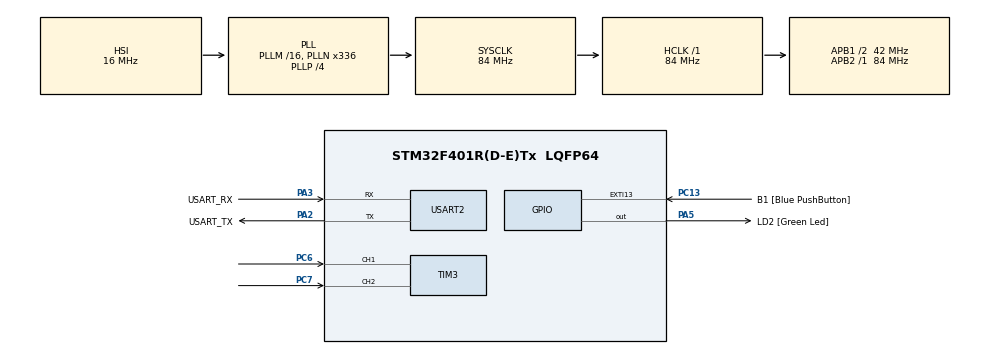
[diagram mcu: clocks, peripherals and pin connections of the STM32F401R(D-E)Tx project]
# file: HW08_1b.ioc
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Dma.Request0=USART2_TX
Dma.USART2_TX.0.Direction=DMA_MEMORY_TO_PERIPH
Dma.USART2_TX.0.FIFOMode=DMA_FIFOMODE_DISABLE
Dma.USART2_TX.0.Instance=DMA1_Stream6
Dma.USART2_TX.0.MemDataAlignment=DMA_MDATAALIGN_BYTE
Dma.USART2_TX.0.MemInc=DMA_MINC_ENABLE
Dma.USART2_TX.0.Mode=DMA_NORMAL
Dma.USART2_TX.0.PeriphDataAlignment=DMA_PDATAALIGN_BYTE
Dma.USART2_TX.0.PeriphInc=DMA_PINC_DISABLE
Dma.USART2_TX.0.Priority=DMA_PRIORITY_LOW
Mcu.Family=STM32F4
Mcu.Name=STM32F401R(D-E)Tx
Mcu.Package=LQFP64
NVIC.DMA1_Stream6_IRQn=true\:0\:0\:false\:false\:true\:false\:true\:true
NVIC.PriorityGroup=NVIC_PRIORITYGROUP_0
NVIC.TIM1_UP_TIM10_IRQn=true\:0\:0\:false\:false\:true\:true\:true\:true
NVIC.USART2_IRQn=true\:0\:0\:false\:false\:true\:true\:true\:true
PA13.GPIO_Label=TMS
PA13.Mode=Serial_Wire
PA13.Signal=SYS_JTMS-SWDIO
PA14.GPIO_Label=TCK
PA14.Mode=Serial_Wire
PA14.Signal=SYS_JTCK-SWCLK
PA2.GPIO_Label=USART_TX
PA2.GPIO_Mode=GPIO_MODE_AF_PP
PA2.GPIO_PuPd=GPIO_NOPULL
PA2.GPIO_Speed=GPIO_SPEED_FREQ_LOW
PA2.Mode=Asynchronous
PA2.Signal=USART2_TX
PA3.GPIO_Label=USART_RX
PA3.GPIO_Mode=GPIO_MODE_AF_PP
PA3.GPIO_PuPd=GPIO_NOPULL
PA3.GPIO_Speed=GPIO_SPEED_FREQ_LOW
PA3.Mode=Asynchronous
PA3.Signal=USART2_RX
PA5.GPIO_Label=LD2 [Green Led]
PA5.GPIO_Mode=GPIO_MODE_OUTPUT_PP
PA5.GPIO_PuPd=GPIO_NOPULL
PA5.GPIO_Speed=GPIO_SPEED_FREQ_LOW
PA5.Signal=GPIO_Output
PB3.GPIO_Label=SWO
PB3.Signal=SYS_JTDO-SWO
PC13-ANTI_TAMP.GPIO_Label=B1 [Blue PushButton]
PC13-ANTI_TAMP.GPIO_ModeDefaultEXTI=GPIO_MODE_IT_FALLING
PC13-ANTI_TAMP.GPIO_PuPd=GPIO_NOPULL
PC13-ANTI_TAMP.Signal=GPXTI13
PC14-OSC32_IN.Mode=LSE-External-Oscillator
PC14-OSC32_IN.Signal=RCC_OSC32_IN
PC15-OSC32_OUT.Mode=LSE-External-Oscillator
PC15-OSC32_OUT.Signal=RCC_OSC32_OUT
PC6.Signal=S_TIM3_CH1
PC7.Signal=S_TIM3_CH2
PH0\ -\ OSC_IN.Mode=HSE-External-Clock-Source
PH0\ -\ OSC_IN.Signal=RCC_OSC_IN
PH1\ -\ OSC_OUT.Mode=HSE-External-Clock-Source
PH1\ -\ OSC_OUT.Signal=RCC_OSC_OUT
ProjectManager.HeapSize=0x200
ProjectManager.StackSize=0x400
ProjectManager.TargetToolchain=STM32CubeIDE
RCC.48MHZClocksFreq_Value=48000000
RCC.AHBFreq_Value=84000000
RCC.APB1CLKDivider=RCC_HCLK_DIV2
RCC.APB1Freq_Value=42000000
RCC.APB1TimFreq_Value=84000000
RCC.APB2Freq_Value=84000000
RCC.APB2TimFreq_Value=84000000
RCC.CortexFreq_Value=84000000
RCC.HCLKFreq_Value=84000000
RCC.HSE_VALUE=8000000
RCC.HSI_VALUE=16000000
RCC.PLLN=336
RCC.PLLP=RCC_PLLP_DIV4
RCC.PLLQ=7
RCC.SYSCLKFreq_VALUE=84000000
RCC.SYSCLKSource=RCC_SYSCLKSOURCE_PLLCLK
RCC.VCOOutputFreq_Value=336000000
SH.S_TIM3_CH1.0=TIM3_CH1,Encoder_Interface
SH.S_TIM3_CH2.0=TIM3_CH2,Encoder_Interface
TIM10.Period=10000-1
TIM10.Prescaler=8400-1
TIM3.ClockDivision=TIM_CLOCKDIVISION_DIV4
TIM3.IC1Filter=15
TIM3.IC2Filter=15
TIM3.IC2Polarity=TIM_ICPOLARITY_RISING
USART2.VirtualMode=VM_ASYNC
VP_TIM10_VS_ClockSourceINT.Mode=Enable_Timer
board=NUCLEO-F401RE

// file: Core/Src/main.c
/* USER CODE BEGIN Header */
/**
  ******************************************************************************
  * @file           : main.c
  * @brief          : Main program body
  ******************************************************************************
  * @attention
  *
  * Copyright (c) 2023 STMicroelectronics.
  * All rights reserved.
  *
  * This software is licensed under terms that can be found in the LICENSE file
  * in the root directory of this software component.
  * If no LICENSE file comes with this software, it is provided AS-IS.
  *
  ******************************************************************************
  */
/* USER CODE END Header */
#include "main.h"

/* USER CODE BEGIN Includes */
#include "stdio.h"
/* USER CODE END Includes */

TIM_HandleTypeDef htim3;
TIM_HandleTypeDef htim10;

UART_HandleTypeDef huart2;
DMA_HandleTypeDef hdma_usart2_tx;

/* USER CODE BEGIN PV */
int16_t curr_count = 0;
int16_t	last_count = 0;
int16_t delta = 0;
/* USER CODE END PV */

void SystemClock_Config(void);
static void MX_GPIO_Init(void);
static void MX_DMA_Init(void);
static void MX_USART2_UART_Init(void);
static void MX_TIM3_Init(void);
static void MX_TIM10_Init(void);
/* USER CODE BEGIN PFP */
void HAL_TIM_PeriodElapsedCallback(TIM_HandleTypeDef *htim)
{
	if(htim == &htim10){
		char buff[100];
		//read timer value
		curr_count = (int16_t) __HAL_TIM_GET_COUNTER(&htim3);

		//delta is a int16_t like curr_count and last_count. Binary subtraction needs n+1 = 17 bits to account
		//for carry, however if we discard the 17th bit and consider signed variable, we solve the roll up issue
		delta = curr_count - last_count;

		//a full round consists of 24 ticks
		uint8_t len = snprintf(buff, sizeof(buff),"Speed: %.2f rpm\n\r", delta*60/24.0);

		last_count = curr_count;

		//send through UART the speed
		HAL_UART_Transmit_DMA(&huart2, (uint8_t*) &buff, len);

	}
}
/* USER CODE END PFP */

int main(void)
{

  /* MCU Configuration--------------------------------------------------------*/

  /* Reset of all peripherals, Initializes the Flash interface and the Systick. */
  HAL_Init();

  /* Configure the system clock */
  SystemClock_Config();

  /* Initialize all configured peripherals */
  MX_GPIO_Init();
  MX_DMA_Init();
  MX_USART2_UART_Init();
  MX_TIM3_Init();
  MX_TIM10_Init();
  /* USER CODE BEGIN 2 */
  if(HAL_TIM_Encoder_Start(&htim3, TIM_CHANNEL_ALL) != HAL_OK)
  	  Error_Handler();

  if(HAL_TIM_Base_Start_IT(&htim10)!= HAL_OK)
  	  Error_Handler();
  /* USER CODE END 2 */

  /* Infinite loop */
  while (1)
  {

  }
}

void SystemClock_Config(void)
{
  RCC_OscInitTypeDef RCC_OscInitStruct = {0};
  RCC_ClkInitTypeDef RCC_ClkInitStruct = {0};

  /** Configure the main internal regulator output voltage
  */
  __HAL_RCC_PWR_CLK_ENABLE();
  __HAL_PWR_VOLTAGESCALING_CONFIG(PWR_REGULATOR_VOLTAGE_SCALE2);

  /** Initializes the RCC Oscillators according to the specified parameters
  * in the RCC_OscInitTypeDef structure.
  */
  RCC_OscInitStruct.OscillatorType = RCC_OSCILLATORTYPE_HSI;
  RCC_OscInitStruct.HSIState = RCC_HSI_ON;
  RCC_OscInitStruct.HSICalibrationValue = RCC_HSICALIBRATION_DEFAULT;
  RCC_OscInitStruct.PLL.PLLState = RCC_PLL_ON;
  RCC_OscInitStruct.PLL.PLLSource = RCC_PLLSOURCE_HSI;
  RCC_OscInitStruct.PLL.PLLM = 16;
  RCC_OscInitStruct.PLL.PLLN = 336;
  RCC_OscInitStruct.PLL.PLLP = RCC_PLLP_DIV4;
  RCC_OscInitStruct.PLL.PLLQ = 7;
  if (HAL_RCC_OscConfig(&RCC_OscInitStruct) != HAL_OK)
  {
    Error_Handler();
  }

  /** Initializes the CPU, AHB and APB buses clocks
  */
  RCC_ClkInitStruct.ClockType = RCC_CLOCKTYPE_HCLK|RCC_CLOCKTYPE_SYSCLK
                              |RCC_CLOCKTYPE_PCLK1|RCC_CLOCKTYPE_PCLK2;
  RCC_ClkInitStruct.SYSCLKSource = RCC_SYSCLKSOURCE_PLLCLK;
  RCC_ClkInitStruct.AHBCLKDivider = RCC_SYSCLK_DIV1;
  RCC_ClkInitStruct.APB1CLKDivider = RCC_HCLK_DIV2;
  RCC_ClkInitStruct.APB2CLKDivider = RCC_HCLK_DIV1;

  if (HAL_RCC_ClockConfig(&RCC_ClkInitStruct, FLASH_LATENCY_2) != HAL_OK)
  {
    Error_Handler();
  }
}

static void MX_TIM3_Init(void)
{

  TIM_Encoder_InitTypeDef sConfig = {0};
  TIM_MasterConfigTypeDef sMasterConfig = {0};

  htim3.Instance = TIM3;
  htim3.Init.Prescaler = 0;
  htim3.Init.CounterMode = TIM_COUNTERMODE_UP;
  htim3.Init.Period = 65535;
  htim3.Init.ClockDivision = TIM_CLOCKDIVISION_DIV4;
  htim3.Init.AutoReloadPreload = TIM_AUTORELOAD_PRELOAD_DISABLE;
  sConfig.EncoderMode = TIM_ENCODERMODE_TI1;
  sConfig.IC1Polarity = TIM_ICPOLARITY_RISING;
  sConfig.IC1Selection = TIM_ICSELECTION_DIRECTTI;
  sConfig.IC1Prescaler = TIM_ICPSC_DIV1;
  sConfig.IC1Filter = 15;
  sConfig.IC2Polarity = TIM_ICPOLARITY_RISING;
  sConfig.IC2Selection = TIM_ICSELECTION_DIRECTTI;
  sConfig.IC2Prescaler = TIM_ICPSC_DIV1;
  sConfig.IC2Filter = 15;
  if (HAL_TIM_Encoder_Init(&htim3, &sConfig) != HAL_OK)
  {
    Error_Handler();
  }
  sMasterConfig.MasterOutputTrigger = TIM_TRGO_RESET;
  sMasterConfig.MasterSlaveMode = TIM_MASTERSLAVEMODE_DISABLE;
  if (HAL_TIMEx_MasterConfigSynchronization(&htim3, &sMasterConfig) != HAL_OK)
  {
    Error_Handler();
  }

}

static void MX_TIM10_Init(void)
{

  htim10.Instance = TIM10;
  htim10.Init.Prescaler = 8400-1;
  htim10.Init.CounterMode = TIM_COUNTERMODE_UP;
  htim10.Init.Period = 10000-1;
  htim10.Init.ClockDivision = TIM_CLOCKDIVISION_DIV1;
  htim10.Init.AutoReloadPreload = TIM_AUTORELOAD_PRELOAD_DISABLE;
  if (HAL_TIM_Base_Init(&htim10) != HAL_OK)
  {
    Error_Handler();
  }

}

static void MX_USART2_UART_Init(void)
{

  huart2.Instance = USART2;
  huart2.Init.BaudRate = 115200;
  huart2.Init.WordLength = UART_WORDLENGTH_8B;
  huart2.Init.StopBits = UART_STOPBITS_1;
  huart2.Init.Parity = UART_PARITY_NONE;
  huart2.Init.Mode = UART_MODE_TX_RX;
  huart2.Init.HwFlowCtl = UART_HWCONTROL_NONE;
  huart2.Init.OverSampling = UART_OVERSAMPLING_16;
  if (HAL_UART_Init(&huart2) != HAL_OK)
  {
    Error_Handler();
  }

}

static void MX_DMA_Init(void)
{

  /* DMA controller clock enable */
  __HAL_RCC_DMA1_CLK_ENABLE();

  /* DMA interrupt init */
  /* DMA1_Stream6_IRQn interrupt configuration */
  HAL_NVIC_SetPriority(DMA1_Stream6_IRQn, 0, 0);
  HAL_NVIC_EnableIRQ(DMA1_Stream6_IRQn);

}

static void MX_GPIO_Init(void)
{
  GPIO_InitTypeDef GPIO_InitStruct = {0};

  /* GPIO Ports Clock Enable */
  __HAL_RCC_GPIOC_CLK_ENABLE();
  __HAL_RCC_GPIOH_CLK_ENABLE();
  __HAL_RCC_GPIOA_CLK_ENABLE();
  __HAL_RCC_GPIOB_CLK_ENABLE();

  /*Configure GPIO pin Output Level */
  HAL_GPIO_WritePin(LD2_GPIO_Port, LD2_Pin, GPIO_PIN_RESET);

  /*Configure GPIO pin : B1_Pin */
  GPIO_InitStruct.Pin = B1_Pin;
  GPIO_InitStruct.Mode = GPIO_MODE_IT_FALLING;
  GPIO_InitStruct.Pull = GPIO_NOPULL;
  HAL_GPIO_Init(B1_GPIO_Port, &GPIO_InitStruct);

  /*Configure GPIO pin : LD2_Pin */
  GPIO_InitStruct.Pin = LD2_Pin;
  GPIO_InitStruct.Mode = GPIO_MODE_OUTPUT_PP;
  GPIO_InitStruct.Pull = GPIO_NOPULL;
  GPIO_InitStruct.Speed = GPIO_SPEED_FREQ_LOW;
  HAL_GPIO_Init(LD2_GPIO_Port, &GPIO_InitStruct);

}

void Error_Handler(void)
{
  __disable_irq();
  while (1)
  {
  }
}
